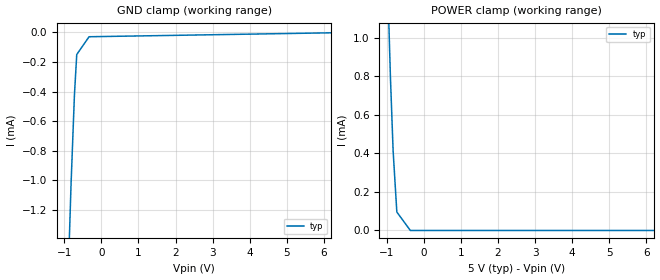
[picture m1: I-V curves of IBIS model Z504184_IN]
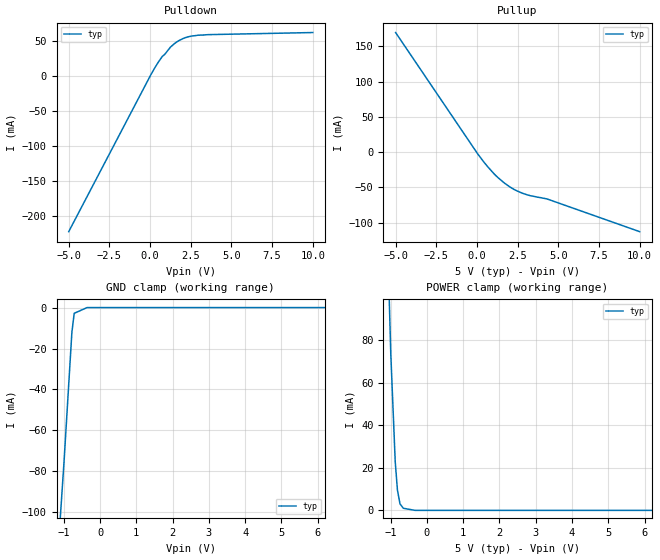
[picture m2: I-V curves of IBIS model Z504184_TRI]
| YOU ARE ONLY AUTHORIZED TO USE THIS SOFTWARE
| ACCORDING TO LICENSOR'S LICENSE RESTRICTIONS.
[IBIS Ver] 3.1
[File Name] mc74hc240adw.ibs
[File Rev] 2.0
[Source] Measured and created by ICX Technology
[Date] Friday 7/14/00 9:08:08 AM
[Copyright]
| (C) COPYRIGHT 1993-2000
| MENTOR GRAPHICS CORPORATION
| ICX STANDARD LIBRARY, ICX PROJECT MODELING,
| ICX CUSTOM MODELING, ICX VENDOR MODEL
| ALL RIGHTS RESERVED.
| THE FOLLOWING ARE TRADEMARKS OR SERVICE MARKS OF
| MENTOR GRAPHICS CORPORATION:ICX (R), ICX STANDARD
| LIBRARY(R), ICX PROJECT MODELING(R), ICX CUSTOM
| MODELING(R), qualityIBIS(TM), MODELVIEWER(TM),
| AND MODELEDITOR(TM)
| ALL COPIES OF SOFTWARE, INCLUDING BUT NOT LIMITED TO
| ANY MODIFICATIONS, ENHANCEMENTS OR DERIVATIVE WORKS,
| MUST CONTAIN ALL MENTOR GRAPHICS CORPORATION'S
| NOTICES AND LEGENDS, INCLUDING THOSE EMBEDDED IN
| SOFTWARE AND THOSE AFFIXED TO SOFTWARE MEDIUM
| AND CONTAINER, AS RECEIVED FROM MENTOR GRAPHICS
| CORPORATION.
|  ZAP Model Builder 2.7
[Component] MC74HC240ADW
[Manufacturer] OnSemiconductor
[Package]
| variable   typ   min   max
R_pkg  .178ohms NA NA
L_pkg  4.43nH NA NA
C_pkg  .62pF NA NA
[Pin] signal_name  model_name  R_pin  L_pin C_pin
1 _G Z504184_IN .186 5.37n .68p
2 A0 Z504184_IN .182 4.89n .65p
3 _Y3 Z504184_TRI .178 4.42n .62p
4 A1 Z504184_IN .174 3.96n .59p
5 _Y2 Z504184_TRI .17 3.51n .56p
6 A2 Z504184_IN .17 3.51n .56p
7 _Y1 Z504184_TRI .174 3.96n .59p
8 A3 Z504184_IN .178 4.42n .62p
9 _Y0 Z504184_TRI .182 4.89n .65p
10 GROUND GND .186 5.37n .68p
11 A0 Z504184_IN .186 5.37n .68p
12 _Y3 Z504184_TRI .182 4.89n .65p
13 A1 Z504184_IN .178 4.42n .62p
14 _Y2 Z504184_TRI .174 3.96n .59p
15 A2 Z504184_IN .17 3.51n .56p
16 _Y1 Z504184_TRI .17 3.51n .56p
17 A3 Z504184_IN .174 3.96n .59p
18 _Y0 Z504184_TRI .178 4.42n .62p
19 _G Z504184_IN .182 4.89n .65p
20 VCC POWER .186 5.37n .68p
| Models and submodels in the file (2): Z504184_IN (Input), Z504184_TRI (3-state)
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| (C) COPYRIGHT 1993-2000
| MENTOR GRAPHICS CORPORATION
| ICX STANDARD LIBRARY, ICX PROJECT MODELING,
| ICX CUSTOM MODELING, ICX VENDOR MODEL
| ALL RIGHTS RESERVED.
| THE FOLLOWING ARE TRADEMARKS OR SERVICE MARKS OF
| MENTOR GRAPHICS CORPORATION:ICX (R), ICX STANDARD
| LIBRARY(R), ICX PROJECT MODELING(R), ICX CUSTOM
| MODELING(R), qualityIBIS(TM), MODELVIEWER(TM),
| AND MODELEDITOR(TM)
| ALL COPIES OF SOFTWARE, INCLUDING BUT NOT LIMITED TO
| ANY MODIFICATIONS, ENHANCEMENTS OR DERIVATIVE WORKS,
| MUST CONTAIN ALL MENTOR GRAPHICS CORPORATION'S
| NOTICES AND LEGENDS, INCLUDING THOSE EMBEDDED IN
| SOFTWARE AND THOSE AFFIXED TO SOFTWARE MEDIUM
| AND CONTAINER, AS RECEIVED FROM MENTOR GRAPHICS
| CORPORATION.
| Model Application Version 1.89 2/18/99.
[Model] Z504184_IN
Model_type Input
Vinl = 1.000V
Vinh = 3.500V
C_comp 4.000pF NA NA
| variable typ   min   max
[Voltage Range] 5.000V NA NA
[GND Clamp Reference] 0.000V NA NA
[POWER Clamp Reference] 5.000V NA NA
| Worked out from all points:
|   GND clamp passes 1 mA (typ) near -0.81 V on its own axis
|   POWER clamp passes 1 mA (typ) near -0.93 V on its own axis
[GND Clamp]
-5V       -36.43mA   NA         NA
-1.115V   -3.395mA   NA         NA
-818.8mV  -1.03mA    NA         NA
-727.5mV  -425.8uA   NA         NA
-664.9mV  -150.3uA   NA         NA
-332.5mV  -30.21uA   NA         NA
10V       11.87uA    NA         NA
[POWER Clamp]
-5V       34.41mA    NA         NA
-1.348V   4.034mA    NA         NA
-1.055V   1.794mA    NA         NA
-903mV    798.8uA    NA         NA
-830mV    413.5uA    NA         NA
-730mV    95.96uA    NA         NA
-365mV    0A         NA         NA
10V       0A         NA         NA
| (C) COPYRIGHT 1993-2000
| MENTOR GRAPHICS CORPORATION
| ICX STANDARD LIBRARY, ICX PROJECT MODELING,
| ICX CUSTOM MODELING, ICX VENDOR MODEL
| ALL RIGHTS RESERVED.
| THE FOLLOWING ARE TRADEMARKS OR SERVICE MARKS OF
| MENTOR GRAPHICS CORPORATION:ICX (R), ICX STANDARD
| LIBRARY(R), ICX PROJECT MODELING(R), ICX CUSTOM
| MODELING(R), qualityIBIS(TM), MODELVIEWER(TM),
| AND MODELEDITOR(TM)
| ALL COPIES OF SOFTWARE, INCLUDING BUT NOT LIMITED TO
| ANY MODIFICATIONS, ENHANCEMENTS OR DERIVATIVE WORKS,
| MUST CONTAIN ALL MENTOR GRAPHICS CORPORATION'S
| NOTICES AND LEGENDS, INCLUDING THOSE EMBEDDED IN
| SOFTWARE AND THOSE AFFIXED TO SOFTWARE MEDIUM
| AND CONTAINER, AS RECEIVED FROM MENTOR GRAPHICS
| CORPORATION.
| Model Application Version 1.89 2/18/99.
[Model] Z504184_TRI
Model_type 3-state
Vref=0.000V
Rref=500.0Mohms
Cref=50.00pF
Vmeas=2.500V
C_comp 8.000pF NA NA
| variable typ   min   max
[Voltage Range] 5.000V NA NA
[POWER Clamp Reference] 5.000V NA NA
[Pullup Reference] 5.000V NA NA
[Pulldown Reference] 0.000V NA NA
[GND Clamp Reference] 0.000V NA NA
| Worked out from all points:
|   slope of the pulldown table from 0 to 0.75 V, typ, clamps not added: 26.5 ohm
|   slope of the pullup table from 0 to 0.75 V, typ, clamps not added: 34 ohm
|   POWER clamp passes 1 mA (typ) near -0.65 V on its own axis
[GND Clamp]
-5V       -1.132A    NA         NA
-996.1mV  -76.17mA   NA         NA
-777.1mV  -12.21mA   NA         NA
-712.9mV  -2.795mA   NA         NA
-356.4mV  0A         NA         NA
10V       0A         NA         NA
[Pulldown]
-5V       -222.7mA   NA         NA
44.29mV   2.02mA     NA         NA
503.2mV   20.07mA    NA         NA
756.4mV   28.56mA    NA         NA
889.4mV   31.05mA    NA         NA
1.26V     41.95mA    NA         NA
1.512V    47mA       NA         NA
2.185V    55.42mA    NA         NA
2.955V    58.88mA    NA         NA
10V       62.66mA    NA         NA
[Pullup]
-5V       169.5mA    NA         NA
39mV      -2.238mA   NA         NA
639mV     -20.11mA   NA         NA
1.064V    -31.04mA   NA         NA
1.67V     -43.51mA   NA         NA
2.297V    -53.07mA   NA         NA
2.813V    -58.4mA    NA         NA
3.286V    -61.8mA    NA         NA
4.301V    -66.29mA   NA         NA
10V       -112.7mA   NA         NA
[POWER Clamp]
-5V       2.819A     NA         NA
-1.196V   194.5mA    NA         NA
-996mV    73.36mA    NA         NA
-874mV    22.89mA    NA         NA
-813mV    9.504mA    NA         NA
-742mV    3.024mA    NA         NA
-649mV    974.5uA    NA         NA
-324.5mV  0A         NA         NA
10V       0A         NA         NA
[Ramp]
| variable typ min max
dV/dt_r 2.836/2.358n NA NA
dV/dt_f 2.836/1.695n NA NA
R_load = 500.0Ohms
